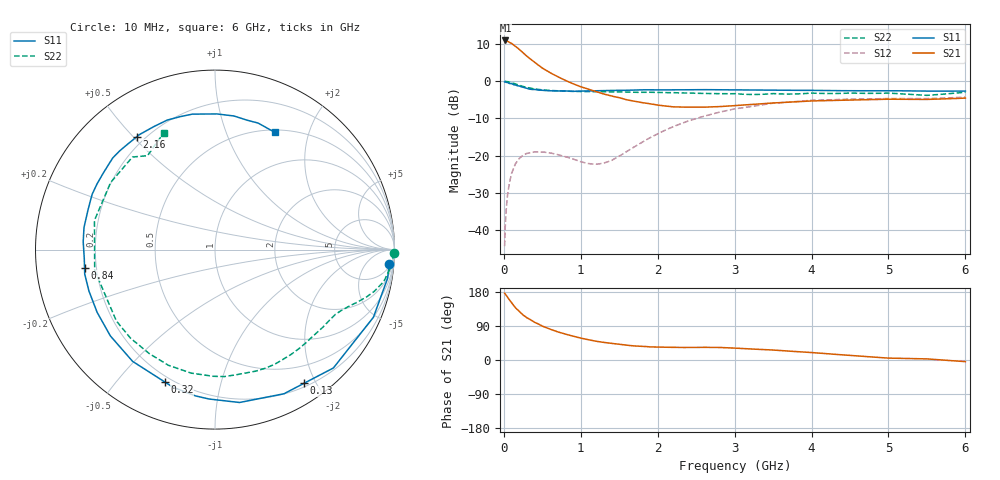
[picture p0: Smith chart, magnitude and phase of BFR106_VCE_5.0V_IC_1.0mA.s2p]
! Infineon Technologies  Discrete & RF Semiconductors
! BFR106
! VCE =  5.0 V,  IC =  1.0 mA
! Common Emitter S-Parameters:  Nov 2015
# GHz  S  MA  R  50
!  f  S11  S21  S12  S22
! GHz  MAG  ANG  MAG  ANG  MAG  ANG  MAG  ANG
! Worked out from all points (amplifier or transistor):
!   210 points, 10 MHz to 6 GHz, reference 50 ohm
!   highest |S21| = 10.9 dB at 20 MHz (marker M1)
!   |S21| within 3 dB of that: start of sweep to 233.7 MHz
!   unconditionally stable (mu >= 1): 854.6 MHz to 2.003 GHz; 2.673 GHz to end of sweep
!   at 185 MHz: K = 0.20, MSG = 15.0 dB, |S12| = -21.2 dB
!   at 1.52 GHz: K = 1.31, MAG = 4.3 dB, |S12| = -19.9 dB
!   at 6 GHz: K = 1.02, MAG = -0.9 dB, |S12| = -4.3 dB
!   S11 on the Smith chart (normalised r, x): 10 MHz: 7, -22; 130 MHz: 0.25, -1.84; 320 MHz: 0.17, -0.68; 840 MHz: 0.15, -0.07; 2.16 GHz: 0.17, +0.51; 6 GHz: 0.53, +1.51
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0.01  0.9739 -4.8  3.507 176.3  0.0061 88.9  1 -1.2
0.02  0.9749 -9.4  3.513 174.0  0.0121 86.3  0.9927 -2.3
0.055  0.9509 -25.2  3.396 163.2  0.0332 74.8  0.9822 -6.1
0.1  0.9328 -45.0  3.22 151.3  0.0572 65.6  0.9571 -10.7
0.13  0.8948 -56.4  3.037 143.6  0.0691 58.0  0.9325 -13.1
0.15  0.8904 -64.4  2.948 138.0  0.0775 54.3  0.9171 -14.7
0.2  0.8627 -80.9  2.681 128.1  0.0915 46.3  0.8805 -17.7
0.26  0.8223 -97.6  2.351 117.4  0.1025 38.0  0.8423 -20.5
0.32  0.7887 -110.8  2.077 109.3  0.108 32.6  0.8149 -22.6
0.4  0.7736 -126.4  1.788 99.4  0.1123 26.0  0.7845 -25.3
0.5  0.7557 -140.5  1.498 89.4  0.112 20.9  0.7617 -28.3
0.6  0.7439 -152.0  1.297 81.1  0.1089 18.0  0.7499 -31.5
0.84  0.7339 -172.1  0.98 66.1  0.0942 18.2  0.731 -39.9
1.02  0.7358 175.4  0.828 56.9  0.0819 25.7  0.7246 -46.7
1.4  0.7506 155.7  0.631 43.8  0.0862 60.2  0.7202 -62.6
2.02  0.7629 129.7  0.474 33.9  0.201 77.0  0.7044 -91.9
2.16  0.765 124.7  0.457 33.5  0.2346 75.4  0.7002 -98.9
3.1  0.7614 97.5  0.477 30.3  0.4383 52.3  0.6675 -149.2
3.5  0.756 89.2  0.509 26.3  0.506 41.8  0.6802 -170.2
4.1  0.7494 80.7  0.545 18.1  0.5564 26.9  0.685 162.6
5.1  0.7423 70.1  0.571 4.6  0.5834 8.9  0.681 130.6
6  0.7353 62.8  0.592 -4.3  0.6095 -2.5  0.7101 113.8
